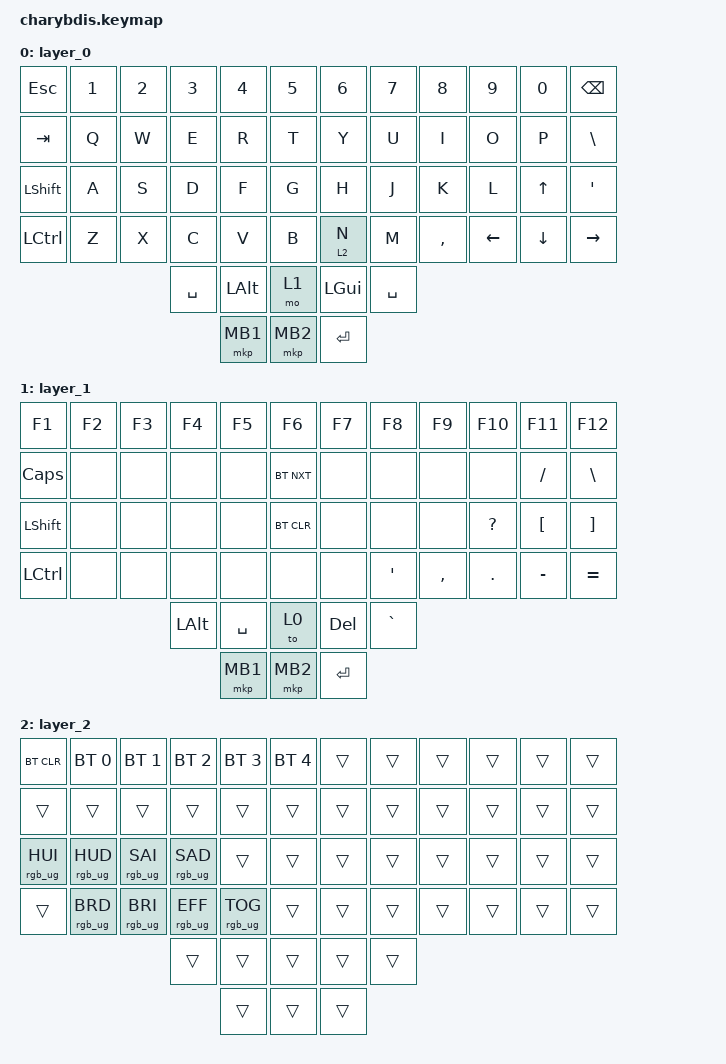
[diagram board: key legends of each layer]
#include <dt-bindings/zmk/mouse.h>
#include <behaviors.dtsi>
#include <dt-bindings/zmk/bt.h>
#include <dt-bindings/zmk/keys.h>
#include <dt-bindings/zmk/pointing.h>
#include <dt-bindings/zmk/rgb.h>

&lt {
    tapping-term-ms = <200>;
    flavor = "balanced";
    quick-tap-ms = <150>;
};

/ {
    keymap {
        compatible = "zmk,keymap";

        layer_0 {
            bindings = <
&kp ESC         &kp N1  &kp N2  &kp N3     &kp N4    &kp N5      &kp N6        &kp N7     &kp N8     &kp N9          &kp N0        &kp BACKSPACE
&kp TAB         &kp Q   &kp W   &kp E      &kp R     &kp T       &kp Y         &kp U      &kp I      &kp O           &kp P         &kp BSLH
&kp LEFT_SHIFT  &kp A   &kp S   &kp D      &kp F     &kp G       &kp H         &kp J      &kp K      &kp L           &kp UP_ARROW  &kp SQT
&kp LCTRL       &kp Z   &kp X   &kp C      &kp V     &kp B       &lt 2 N       &kp M      &kp COMMA  &kp LEFT_ARROW  &kp DOWN      &kp RIGHT
                                &kp SPACE  &kp LALT  &mo 1       &kp LEFT_GUI  &kp SPACE
                                           &mkp MB1  &mkp MB2    &kp ENTER
            >;

            trackball-bindings = <&tmv_coarse>;
        };

        layer_1 {
            bindings = <
&kp F1          &kp F2  &kp F3  &kp F4    &kp F5     &kp F6        &kp F7      &kp F8          &kp F9     &kp F10       &kp F11           &kp F12
&kp CAPS        &none   &none   &none     &none      &bt BT_NXT    &none       &none           &none      &none         &kp SLASH         &kp BACKSLASH
&kp LEFT_SHIFT  &none   &none   &none     &none      &bt BT_CLR    &none       &none           &none      &kp QUESTION  &kp LEFT_BRACKET  &kp RIGHT_BRACKET
&kp LCTRL       &none   &none   &none     &none      &none         &none       &kp APOSTROPHE  &kp COMMA  &kp DOT       &kp MINUS         &kp EQUAL
                                &kp LALT  &kp SPACE  &to 0         &kp DELETE  &kp GRAVE
                                          &mkp MB1   &mkp MB2      &kp ENTER
            >;

            trackball-bindings = <&tsl>;
        };

        layer_2 {
            bindings = <
&bt BT_CLR       &bt BT_SEL 0     &bt BT_SEL 1     &bt BT_SEL 2     &bt BT_SEL 3     &bt BT_SEL 4    &trans  &trans  &trans  &trans  &trans  &trans
&trans           &trans           &trans           &trans           &trans           &trans          &trans  &trans  &trans  &trans  &trans  &trans
&rgb_ug RGB_HUI  &rgb_ug RGB_HUD  &rgb_ug RGB_SAI  &rgb_ug RGB_SAD  &trans           &trans          &trans  &trans  &trans  &trans  &trans  &trans
&trans           &rgb_ug RGB_BRD  &rgb_ug RGB_BRI  &rgb_ug RGB_EFF  &rgb_ug RGB_TOG  &trans          &trans  &trans  &trans  &trans  &trans  &trans
                                                   &trans           &trans           &trans          &trans  &trans
                                                                    &trans           &trans          &trans
            >;
        };

        /* layer_2 {
            bindings = <
&none  &none   &none    &none   &none         &none         &kp N1         &none         &none     &none  &none   &to 0
&none  &none   &none    &none   &none         &none         &none         &none          &rgb_ug RGB_BRD &rgb_ug RGB_BRI  &rgb_ug RGB_EFF   &rgb_ug RGB_TOG
&none  &none   &none    &none   &none         &none         &none         &mkp LCLK     &mkp RCLK  &none  &none   &none
&none  &none   &none    &none   &bt BT_NXT  &bt BT_CLR    &none         &none         &none     &none  &none   &none
                                   &none         &none         &none         &none         &none
                                                 &none         &none         &none
            >;
          trackball-bindings = <&tsl>;
            
        };

       Mouse {
            bindings = <
&none        &none         &none         &none         &none      &none         &none       &none      &none         &none         &none         &none
&none        &bt BT_SEL 0  &bt BT_SEL 1  &bt BT_SEL 3  &none      &bt BT_CLR    &bt BT_CLR  &none      &bt BT_SEL 2  &bt BT_SEL 1  &bt BT_SEL 0  &none
&none        &trans        &trans        &mkp MCLK     &trans     &none         &none       &trans     &mkp MCLK     &trans        &trans        &none
&bootloader  &trans        &mkp RCLK     &mo 4         &mkp LCLK  &mo 5         &mo 5       &mkp LCLK  &mo 4         &mkp RCLK     &trans        &bootloader
                                         &mo 5         &mkp LCLK  &mkp RCLK     &mkp RCLK   &mkp LCLK
                                                       &none      &trans        &trans
            >;

            
        };

        layer_4 {
            bindings = <
&trans  &trans  &trans     &trans     &trans     &trans       &trans     &trans     &trans     &trans     &trans  &trans
&trans  &trans  &trans     &trans     &trans     &trans       &trans     &trans     &trans     &trans     &trans  &trans
&trans  &trans  &trans     &mkp MCLK  &trans     &trans       &trans     &trans     &mkp MCLK  &trans     &trans  &trans
&trans  &trans  &mkp RCLK  &trans     &mkp LCLK  &trans       &trans     &mkp LCLK  &trans     &mkp RCLK  &trans  &trans
                           &trans     &mkp LCLK  &mkp RCLK    &mkp RCLK  &mkp LCLK
                                      &trans     &trans       &trans
            >;
                
                
                trackball-bindings = <&tsl>;
        };

        layer_5 {
            bindings = <
&trans  &trans  &trans     &trans     &trans     &trans       &trans     &trans     &trans     &trans     &trans  &trans
&trans  &trans  &trans     &trans     &trans     &trans       &trans     &trans     &trans     &trans     &trans  &trans
&trans  &trans  &trans     &mkp MCLK  &trans     &trans       &trans     &trans     &mkp MCLK  &trans     &trans  &trans
&trans  &trans  &mkp RCLK  &trans     &mkp LCLK  &trans       &trans     &mkp LCLK  &trans     &mkp RCLK  &trans  &trans
                           &trans     &mkp LCLK  &mkp RCLK    &mkp RCLK  &mkp LCLK
                                      &trans     &trans       &trans
            >;
                trackball-bindings = <&tmv_fine>;
                
        };*/
    };
};
